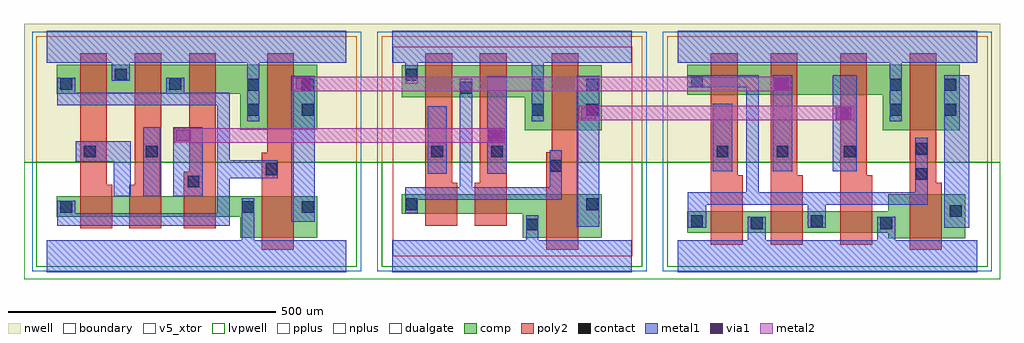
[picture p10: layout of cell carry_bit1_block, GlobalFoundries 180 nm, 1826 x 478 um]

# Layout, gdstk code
import gdstk
lib = gdstk.Library(unit=1e-6, precision=1e-07)
def R(c, l, rs):  # rectangles x0, y0, x1, y1
    for r in rs: c.add(gdstk.rectangle(r[:2], r[2:], *l))
def P(c, l, *ps):  # polygons
    for p in ps: c.add(gdstk.Polygon(p, *l))
boundary = (0, 0)
nwell = (21, 0)
comp = (22, 0)
poly2 = (30, 0)
pplus = (31, 0)
nplus = (32, 0)
contact = (33, 0)
metal1 = (34, 0)
via1 = (35, 0)
metal2 = (36, 0)
dualgate = (55, 0)
v5_xtor = (112, 1)
lvpwell = (204, 0)

carry_bit1_unit = lib.new_cell('carry_bit1_unit')
R(carry_bit1_unit, boundary, [(1796.9,480.3,2244.9,872.3)])
R(carry_bit1_unit, nwell, [(1107.1,655.9,1753.1,914.9), (1753.1,655.9,2287.1,914.9), (2287.1,655.9,2933.1,914.9)])
P(carry_bit1_unit, comp, [(1512.1,514.4),(1512.1,553.9),(1168.1,553.9),(1168.1,591.9),(1656.1,591.9),(1656.1,514.4)],
  [(1512.1,716.4),(1512.1,784.4),(1168.1,784.4),(1168.1,837.9),(1656.1,837.9),(1656.1,716.4)],
  [(2040.1,514.4),(2040.1,559.4),(1814.1,559.4),(1814.1,595.9),(2188.1,595.9),(2188.1,514.4)],
  [(2044.1,715.9),(2044.1,777.4),(1814.1,777.4),(1814.1,837.4),(2188.1,837.4),(2188.1,715.9)],
  [(2714.1,715.9),(2714.1,781.9),(2348.1,781.9),(2348.1,837.9),(2858.1,837.9),(2858.1,715.9)],
  [(2724.1,513.9),(2724.1,523.9),(2348.1,523.9),(2348.1,563.9),(2724.1,563.9),(2724.1,595.9),(2868.1,595.9),(2868.1,513.9)])
P(carry_bit1_unit, poly2, [(1212.1,531.9),(1212.1,859.9),(1262.1,859.9),(1262.1,613.9),(1272.1,613.9),(1272.1,531.9)],
  [(1304.1,531.9),(1304.1,613.9),(1314.1,613.9),(1314.1,859.9),(1364.1,859.9),(1364.1,531.9)],
  [(1406.1,531.9),(1406.1,637.9),(1416.1,637.9),(1416.1,859.9),(1466.1,859.9),(1466.1,531.9)],
  [(1552.1,491.9),(1552.1,673.9),(1562.1,673.9),(1562.1,859.9),(1612.1,859.9),(1612.1,491.9)],
  [(1858.1,537.4),(1858.1,859.9),(1908.1,859.9),(1908.1,617.9),(1918.1,617.9),(1918.1,537.4)],
  [(1950.1,537.4),(1950.1,617.9),(1960.1,617.9),(1960.1,859.9),(2010.1,859.9),(2010.1,537.4)],
  [(2084.1,491.9),(2084.1,674.4),(2094.1,674.4),(2094.1,859.9),(2144.1,859.9),(2144.1,491.9)],
  [(2392.1,501.9),(2392.1,859.9),(2442.1,859.9),(2442.1,631.9),(2452.1,631.9),(2452.1,501.9)],
  [(2504.1,501.9),(2504.1,859.9),(2554.1,859.9),(2554.1,631.9),(2564.1,631.9),(2564.1,501.9)],
  [(2634.1,501.9),(2634.1,859.9),(2684.1,859.9),(2684.1,631.9),(2694.1,631.9),(2694.1,501.9)],
  [(2764.1,491.9),(2764.1,859.9),(2814.1,859.9),(2814.1,617.9),(2824.1,617.9),(2824.1,491.9)])
R(carry_bit1_unit, pplus, [(1130.1,655.9,1730.1,891.9), (1776.1,655.9,2264.1,891.9), (2310.1,655.9,2910.1,891.9)])
R(carry_bit1_unit, nplus, [(1130.1,459.9,1730.1,655.9), (1776.1,459.9,2264.1,655.9), (2310.1,459.9,2910.1,655.9)])
R(carry_bit1_unit, contact, [(2047.1,528.4,2069.1,550.4), (2467.1,530.9,2489.1,552.9), (2709.1,530.9,2731.1,552.9), (2355.1,534.9,2377.1,556.9), (2579.1,534.9,2601.1,556.9), (2839.1,553.4,2861.1,575.4), (1175.1,560.9,1197.1,582.9), (1515.1,560.9,1537.1,582.9), (1627.1,560.9,1649.1,582.9), (1821.1,566.4,1843.1,588.4), (2159.1,566.4,2181.1,588.4), (1413.1,608.9,1435.1,630.9), (2775.1,622.9,2797.1,644.9), (1559.1,631.9,1581.1,653.9), (2091.1,638.4,2113.1,660.4), (1219.1,664.9,1241.1,686.9), (1335.1,664.9,1357.1,686.9), (1869.1,664.9,1891.1,686.9), (1981.1,664.9,2003.1,686.9), (2403.1,664.9,2425.1,686.9), (2515.1,664.9,2537.1,686.9), (2641.1,664.9,2663.1,686.9), (2775.1,669.9,2797.1,691.9), (1525.1,742.9,1547.1,764.9), (1627.1,742.9,1649.1,764.9), (2057.1,742.9,2079.1,764.9), (2159.1,742.9,2181.1,764.9), (2727.1,742.9,2749.1,764.9), (2829.1,742.9,2851.1,764.9), (1923.1,784.4,1945.1,806.4), (1525.1,789.9,1547.1,811.9), (1627.1,789.9,1649.1,811.9), (2057.1,789.9,2079.1,811.9), (2159.1,789.9,2181.1,811.9), (2727.1,789.9,2749.1,811.9), (2829.1,789.9,2851.1,811.9), (1175.1,791.4,1197.1,813.4), (1379.1,791.4,1401.1,813.4), (2355.1,796.4,2377.1,818.4), (1821.1,808.4,1843.1,830.4), (1277.1,808.9,1299.1,830.9)])
R(carry_bit1_unit, metal1, [(2828.6,532.9,2875.6,818.9), (2141.1,535.4,2183.1,817.9), (1607.1,544.9,1651.1,817.9), (1330.1,591.9,1362.1,721.4), (1386.1,591.9,1441.1,721.4), (1862.1,633.9,1898.1,760.9), (1974.1,633.9,2010.1,816.9), (2396.1,639.4,2432.1,765.4), (2508.1,639.4,2544.1,818.9), (2620.1,639.4,2665.1,818.9)])
P(carry_bit1_unit, metal1, [(1275.1,591.9),(1275.1,656.9),(1204.1,656.9),(1204.1,694.9),(1307.1,694.9),(1307.1,591.9)],
  [(1169.1,537.4),(1169.1,583.4),(1203.1,583.4),(1203.1,560.4),(1468.6,560.4),(1468.6,762.4),(1169.1,762.4),(1169.1,813.9),(1203.1,813.9),(1203.1,785.4),(1373.1,785.4),(1373.1,813.9),(1407.1,813.9),(1407.1,785.4),(1491.6,785.4),(1491.6,659.9),(1581.6,659.9),(1581.6,625.9),(1491.6,625.9),(1491.6,537.4)],
  [(1150.1,449.9),(1150.1,509.9),(1514.6,509.9),(1514.6,588.9),(1537.6,588.9),(1537.6,509.9),(1710.1,509.9),(1710.1,449.9)],
  [(1524.6,732.9),(1524.6,841.9),(1305.1,841.9),(1305.1,808.4),(1271.1,808.4),(1271.1,841.9),(1150.1,841.9),(1150.1,901.9),(1710.1,901.9),(1710.1,841.9),(1547.6,841.9),(1547.6,732.9)],
  [(1820.6,560.4),(1820.6,608.9),(1922.6,608.9),(1922.6,812.4),(1945.6,812.4),(1945.6,608.9),(2090.6,608.9),(2090.6,678.4),(2113.6,678.4),(2113.6,585.4),(1843.6,585.4),(1843.6,560.4)],
  [(1796.1,449.9),(1796.1,509.9),(2046.6,509.9),(2046.6,556.4),(2069.6,556.4),(2069.6,509.9),(2244.1,509.9),(2244.1,449.9)],
  [(2056.6,732.9),(2056.6,841.9),(1843.6,841.9),(1843.6,802.4),(1820.6,802.4),(1820.6,841.9),(1796.1,841.9),(1796.1,901.9),(2244.1,901.9),(2244.1,841.9),(2079.6,841.9),(2079.6,732.9)],
  [(2349.1,532.9),(2349.1,599.9),(2458.6,599.9),(2458.6,795.9),(2348.1,795.9),(2348.1,818.9),(2481.6,818.9),(2481.6,599.9),(2774.6,599.9),(2774.6,701.9),(2797.6,701.9),(2797.6,576.4),(2607.1,576.4),(2607.1,532.9),(2573.1,532.9),(2573.1,576.4),(2383.1,576.4),(2383.1,532.9)],
  [(2330.1,449.9),(2330.1,509.9),(2461.1,509.9),(2461.1,553.4),(2495.1,553.4),(2495.1,509.9),(2703.1,509.9),(2703.1,553.4),(2737.1,553.4),(2737.1,509.9),(2890.1,509.9),(2890.1,449.9)],
  [(2726.6,732.9),(2726.6,841.9),(2330.1,841.9),(2330.1,901.9),(2890.1,901.9),(2890.1,841.9),(2749.6,841.9),(2749.6,732.9)])
R(carry_bit1_unit, via1, [(2626.2,736.7,2654.4,758.3)])
R(carry_bit1_unit, dualgate, [(1122.1,451.9,1738.1,899.9), (1768.1,451.9,2272.1,899.9), (2302.1,451.9,2918.1,899.9)])
R(carry_bit1_unit, v5_xtor, [(1796.9,480.3,2244.9,872.3)])
R(carry_bit1_unit, lvpwell, [(1107.1,436.9,1753.1,655.9), (1753.1,436.9,2287.1,655.9), (2287.1,436.9,2933.1,655.9)])
carry_bit1_unit.add(gdstk.Label('IN2_P1', (1402.1,675.9), layer=34, texttype=10))
carry_bit1_unit.add(gdstk.Label('VDD', (1430.1,871.9), layer=34, texttype=10))
carry_bit1_unit.add(gdstk.Label('VSS', (1430.1,479.9), layer=34, texttype=10))
carry_bit1_unit.add(gdstk.Label('OUT_AND3', (1626.1,675.9), layer=34, texttype=10))
carry_bit1_unit.add(gdstk.Label('IN0_C-1', (1234.1,675.9), layer=34, texttype=10))
carry_bit1_unit.add(gdstk.Label('IN1_P0', (1346.1,675.9), layer=34, texttype=10))
carry_bit1_unit.add(gdstk.Label('VDD', (2020.1,871.9), layer=34, texttype=10))
carry_bit1_unit.add(gdstk.Label('VSS', (2020.1,479.9), layer=34, texttype=10))
carry_bit1_unit.add(gdstk.Label('OUT_AND2', (2160.1,675.9), layer=34, texttype=10))
carry_bit1_unit.add(gdstk.Label('IN0_G0', (1880.1,675.9), layer=34, texttype=10))
carry_bit1_unit.add(gdstk.Label('IN1_P1', (1992.1,731.9), layer=34, texttype=10))
carry_bit1_unit.add(gdstk.Label('IN2_P1G0', (2638.1,731.9), layer=34, texttype=10))
carry_bit1_unit.add(gdstk.Label('VDD', (2638.1,875.4), layer=34, texttype=10))
carry_bit1_unit.add(gdstk.Label('VSS', (2638.1,479.4), layer=34, texttype=10))
carry_bit1_unit.add(gdstk.Label('OUT_OR3_C1', (2862.1,675.9), layer=34, texttype=10))
carry_bit1_unit.add(gdstk.Label('IN1_P1P0C-1', (2526.1,731.9), layer=34, texttype=10))
carry_bit1_unit.add(gdstk.Label('IN0_G1', (2414.1,675.9), layer=34, texttype=10))
carry_bit1_unit.add(gdstk.Label('& Vendor GLOBALFOUNDRIES', (1150.1,679.9), layer=63, texttype=63))
carry_bit1_unit.add(gdstk.Label('& Product GF018hv5v_mcu_sc7', (1150.1,629.9), layer=63, texttype=63))
carry_bit1_unit.add(gdstk.Label('& Version 2015q2v1', (1150.1,579.9), layer=63, texttype=63))
carry_bit1_unit.add(gdstk.Label('& Metric 1.00', (1150.1,529.9), layer=63, texttype=63))
carry_bit1_unit.add(gdstk.Label('& Vendor GLOBALFOUNDRIES', (1796.1,679.9), layer=63, texttype=63))
carry_bit1_unit.add(gdstk.Label('& Product GF018hv5v_mcu_sc7', (1796.1,629.9), layer=63, texttype=63))
carry_bit1_unit.add(gdstk.Label('& Version 2015q2v1', (1796.1,579.9), layer=63, texttype=63))
carry_bit1_unit.add(gdstk.Label('& Metric 1.00', (1796.1,529.9), layer=63, texttype=63))
carry_bit1_unit.add(gdstk.Label('& Vendor GLOBALFOUNDRIES', (2330.1,679.9), layer=63, texttype=63))
carry_bit1_unit.add(gdstk.Label('& Product GF018hv5v_mcu_sc7', (2330.1,629.9), layer=63, texttype=63))
carry_bit1_unit.add(gdstk.Label('& Version 2015q2v1', (2330.1,579.9), layer=63, texttype=63))
carry_bit1_unit.add(gdstk.Label('& Metric 1.00', (2330.1,529.9), layer=63, texttype=63))

carry_bit1_block = lib.new_cell('carry_bit1_block')
R(carry_bit1_block, via1, [(1087.6,454.4,1115.8,476), (1672,454.8,1700.2,476.4), (1845.9,496.7,1874.1,518.3), (2322.2,496.9,2350.4,518.5), (2206.7,551.2,2234.9,572.8), (1311.5,551.4,1339.7,573)])
R(carry_bit1_block, metal2, [(1084.7,451.6,1702.8,478.7), (1840.9,494,2357,521.1), (1305.2,548.3,2238.1,575.4)])
carry_bit1_block.add(gdstk.Reference(carry_bit1_unit, (-303.7,-240.6)))

lib.write_gds('carry_bit1_block.gds')
